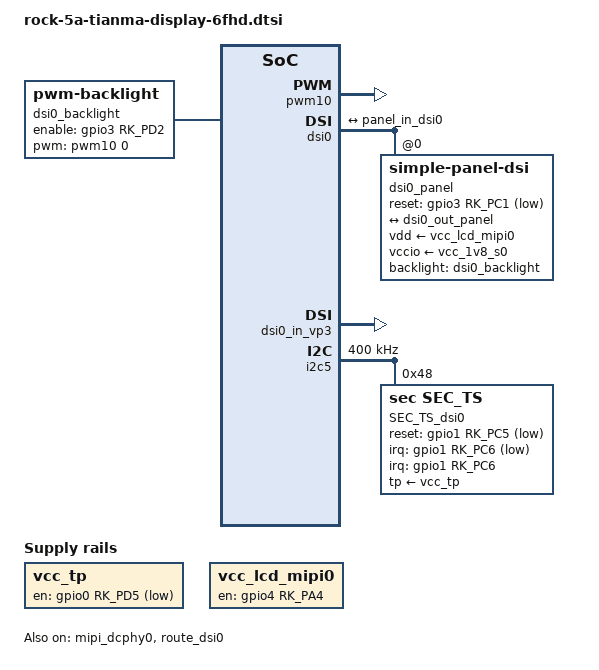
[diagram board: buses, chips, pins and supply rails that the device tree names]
/ {
    vcc_tp: vcc-tp {
        status = "okay";
        regulator-name = "vcc_tp";
        compatible = "regulator-fixed";
        gpio = <&gpio0 RK_PD5 GPIO_ACTIVE_LOW>;
        enable-active-low;
        regulator-boot-on;
        regulator-always-on;
    };

    vcc_lcd_mipi0: vcc-lcd-mipi0 {
        status = "okay";
        compatible = "regulator-fixed";
        regulator-name = "vcc_lcd_mipi0";
        gpio = <&gpio4 RK_PA4 GPIO_ACTIVE_HIGH>;
        enable-active-high;
        regulator-boot-on;
        regulator-always-on;
        regulator-state-mem {
            regulator-off-in-suspend;
        };
    };

    dsi0_backlight: dsi0-backlight {
        status = "okay";
        compatible = "pwm-backlight";
        pwms = <&pwm10 0 25000 0>;
        brightness-levels = <
            50  50  50  50  50  50  50  50
			49  49  48  48  47  47  46  46
			45  45  44  44  43  43  42  42
			41  41  40  40  39  39  38  38
			37  37  36  36  35  35  34  34
			33  33  32  32  31  31  30  30
			30  30  30  30  30  30  30  30
			30  30  30  30  30  30  30  30
			30  30  30  30  30  30  30  30
			30  30  30  30  30  30  30  30
			30  30  30  30  30  30  30  30
			30  30  30  30  30  30  30  30
			30  30  30  30  30  30  30  30
			30  30  30  30  30  30  30  30
			30  30  30  30  30  30  30  30
			30  30  30  30  30  30  30  30
			30  30  30  30  30  30  30  30
			30  30  30  30  30  30  30  30
			30  30  30  30  30  30  30  30
			30  30  30  30  30  30  30  30
			30  30  30  30  30  30  30  30
			30  30  30  30  30  30  30  30
			30  30  30  30  30  30  30  30
			30  30  30  30  30  30  30  30
			30  30  30  30  30  30  30  30
			30  30  30  30  30  30  30  30
			30  30  30  30  30  30  30  30
			30  30  30  30  30  30  30  30
			30  30  30  30  30  30  30  30
			30  30  30  29  29  28  28  27
			27  26  26  25  25  24  24  23
			23  22  22  21  21  20  20  0 
        >;
        default-brightness-level = <30>;
        enable-gpios = <&gpio3 RK_PD2 GPIO_ACTIVE_HIGH>;
        pinctrl-names = "default";
        pinctrl-0 = <&dsi0_backlight_en>;
    };
};

&pwm10 {
    status = "okay";
    pinctrl-names = "active";
    pinctrl-0 = <&pwm10m2_pins>;
};

&dsi0 {
    status = "okay";
    #address-cells = <1>;
    #size-cells = <0>;

    dsi0_panel: panel@0 {
        status = "okay";
        compatible = "simple-panel-dsi";
        reg = <0>;
        backlight = <&dsi0_backlight>;
        vdd-supply = <&vcc_lcd_mipi0>;
        vccio-supply = <&vcc_1v8_s0>;
        reset-gpios = <&gpio3 RK_PC1 GPIO_ACTIVE_LOW>;
        pinctrl-names = "default";
        pinctrl-0 = <&dsi0_lcd_rst_gpio>;

        prepare-delay-ms = <20>;
        reset-delay-ms = <120>;
        init-delay-ms = <100>;
        enable-delay-ms = <35>;
        disable-delay-ms = <50>;
        unprepare-delay-ms = <50>;

        width-mm = <74>;
        height-mm = <133>;

        dsi,flags = <(MIPI_DSI_MODE_VIDEO | MIPI_DSI_MODE_VIDEO_BURST |
                    MIPI_DSI_MODE_LPM | MIPI_DSI_MODE_NO_EOT_PACKET)>;
        dsi,format = <MIPI_DSI_FMT_RGB888>;
        dsi,lanes = <4>;

        panel-init-sequence = [
			39 00 03 9F A5 A5
			05 78 01 11  
			15 00 02 55 10
			39 00 03 F0 5A 5A
			15 00 02 73 94 
			39 00 3D EA 00 73 11 1B 23 2A 40 59 70 6E A1 86 92 9F AB B8 4D 59 65 7F 00 73 11 1B 23 2A 40 59 70 6E A1 86 92 9F AB B8 4D 59 65 7F 00 73 11 1B 23 2A 40 59 70 6E A1 86 92 9F AB B8 4D 59 65 7F
			39 00 3D EB 00 73 11 1B 23 2A 40 59 70 6E A1 86 92 9F AB B8 4D 59 65 7F 00 73 11 1B 23 2A 40 59 70 6E A1 86 92 9F AB B8 4D 59 65 7F 00 73 11 1B 23 2A 40 59 70 6E A1 86 92 9F AB B8 4D 59 65 7F
			39 00 03 F0 A5 A5
			05 09 01 29
			39 00 03 9F 5A 5A
		];

		panel-exit-sequence = [
			39 00 03 9F A5 A5
			05 00 01 28
			05 50 02 10 00
			39 00 03 F0 5A 5A
			15 00 02 73 90 
			39 00 03 F0 A5 A5
			05 00 01 24
			39 00 03 9F 5A 5A
		];

		display-timings {
			native-mode = <&timing0>;
			timing0: timing0 {
				clock-frequency = <154000000>;
				hactive = <1080>;
				vactive = <2160>;

				vback-porch = <6>;
				vfront-porch = <8>;

				hback-porch = <4>;
				hfront-porch = <92>;

				hsync-len = <4>;
				vsync-len = <2>;

				vsync-active = <0>;
				hsync-active = <0>;
				de-active = <1>;
				pixelclk-active = <0>;
			};
		};

		ports {
			#address-cells = <1>;
			#size-cells = <0>;

			port@0 {
				reg = <0>;
				panel_in_dsi0: endpoint {
					remote-endpoint = <&dsi0_out_panel>;
				};
			};
		};
    };
	ports {
		#address-cells = <1>;
		#size-cells = <0>;

		port@1 {
			reg = <1>;
			dsi0_out_panel: endpoint {
				remote-endpoint = <&panel_in_dsi0>;
			};
		};
	};
};

&mipi_dcphy0 {
	status = "okay";
};

&route_dsi0 {
    status = "okay";
    connect = <&vp3_out_dsi0>;
};

&dsi0_in_vp2 {
    status = "disabled";
};

&dsi0_in_vp3 {
    status = "okay";
};

&i2c5 {
	status = "okay";
	pinctrl-names = "default";
	pinctrl-0 = <&i2c5m2_xfer>;
	clock-frequency = <400000>;
	#address-cells = <1>;
	#size-cells = <0>;
	
	SEC_TS_dsi0: SEC_TS@48 {
		status = "okay";
		compatible = "sec,sec_ts";
		reg = <0x48>;
		interrupt-parent = <&gpio1>;
		interrupts = <RK_PC6 IRQ_TYPE_LEVEL_LOW>;
		reset-gpios = <&gpio1 RK_PC5 GPIO_ACTIVE_LOW>;
		pinctrl-names = "default";
		pinctrl-0 = <&ts_irq>;
		sec,irq_gpio = <&gpio1 RK_PC6 GPIO_ACTIVE_LOW>;
		sec,max_coords = <1080>, <2160>;
		touchscreen-inverted-x = <1>;
		touchscreen-inverted-y = <1>;
		tp-supply = <&vcc_tp>;
	};
};

&pinctrl {
	dsi0-lcd {
		dsi0_lcd_rst_gpio: dsi0-lcd-rst-gpio {
			rockchip,pins = <3 RK_PC1 RK_FUNC_GPIO &pcfg_pull_up>;
		};
		dsi0_backlight_en: dsi0-backlight-en {
			rockchip,pins = <3 RK_PD2 RK_FUNC_GPIO &pcfg_pull_up>;
		};
	};
	ts {
		ts_irq: ts_irq {
			rockchip,pins =
			<3 RK_PC5 RK_FUNC_GPIO &pcfg_pull_none>,
			<1 RK_PC6 RK_FUNC_GPIO &pcfg_pull_up>;
		};
	};
};
